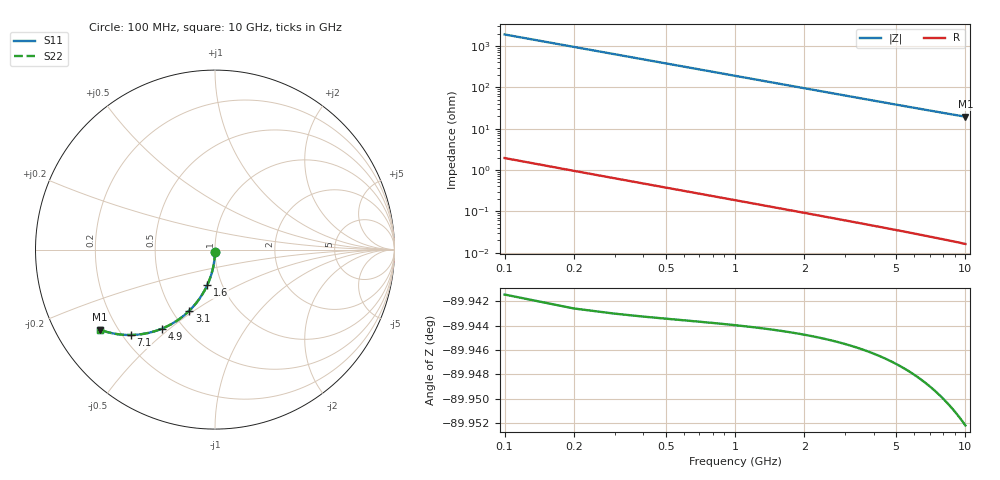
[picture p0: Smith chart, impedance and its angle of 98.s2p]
# Hz S RI R 50.00
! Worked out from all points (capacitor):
!   100 points, 100 MHz to 10 GHz, reference 50 ohm
!   read as one part in shunt: C = 838 fF near 100 MHz
!   lowest |Z| = 19.5 ohm at 10 GHz (marker M1)
!   S11 on the Smith chart (normalised r, x): 100 MHz: 1.00, -0.03; 1.6 GHz: 0.85, -0.35; 3.1 GHz: 0.61, -0.48; 4.9 GHz: 0.38, -0.47; 7.1 GHz: 0.23, -0.40; 10 GHz: 0.13, -0.31
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1e8  -6.86e-05 -0.0128  0.9997 -0.0135  0.9997 -0.0135  -6.86e-05 -0.0128
2e8  -0.0006 -0.0257  0.9992 -0.0269  0.9992 -0.0269  -0.0006 -0.0257
3e8  -0.00148 -0.0385  0.9983 -0.0404  0.9983 -0.0404  -0.00148 -0.0385
4e8  -0.00269 -0.0512  0.9971 -0.0538  0.9971 -0.0538  -0.00269 -0.0512
5e8  -0.00425 -0.0639  0.9955 -0.0671  0.9955 -0.0671  -0.00425 -0.0639
6e8  -0.00615 -0.0766  0.9936 -0.0804  0.9936 -0.0804  -0.00615 -0.0766
7e8  -0.00838 -0.0891  0.9914 -0.0936  0.9914 -0.0936  -0.00838 -0.0891
9e8  -0.0138 -0.114  0.9859 -0.1197  0.9859 -0.1197  -0.0138 -0.114
1.2e9  -0.0244 -0.1503  0.9754 -0.1579  0.9754 -0.1579  -0.0244 -0.1503
1.6e9  -0.0425 -0.1966  0.9572 -0.2068  0.9572 -0.2068  -0.0425 -0.1966
1.8e9  -0.0533 -0.2187  0.9464 -0.2301  0.9464 -0.2301  -0.0533 -0.2187
2.4e9  -0.091 -0.2798  0.9086 -0.295  0.9086 -0.295  -0.091 -0.2798
3.1e9  -0.1433 -0.3402  0.8563 -0.36  0.8563 -0.36  -0.1433 -0.3402
3.4e9  -0.1676 -0.3624  0.8319 -0.384  0.8319 -0.384  -0.1676 -0.3624
4.1e9  -0.2268 -0.4054  0.7726 -0.4315  0.7726 -0.4315  -0.2268 -0.4054
4.9e9  -0.2957 -0.4404  0.7035 -0.4717  0.7035 -0.4717  -0.2957 -0.4404
5.1e9  -0.3128 -0.447  0.6864 -0.4796  0.6864 -0.4796  -0.3128 -0.447
5.9e9  -0.3792 -0.4659  0.6198 -0.5037  0.6198 -0.5037  -0.3792 -0.4659
6.7e9  -0.4414 -0.4746  0.5574 -0.5176  0.5574 -0.5176  -0.4414 -0.4746
7.1e9  -0.4706 -0.4758  0.5281 -0.5215  0.5281 -0.5215  -0.4706 -0.4758
8.4e9  -0.5558 -0.4691  0.4424 -0.5234  0.4424 -0.5234  -0.5558 -0.4691
1e10  -0.6413 -0.4461  0.3563 -0.5113  0.3563 -0.5113  -0.6413 -0.4461
